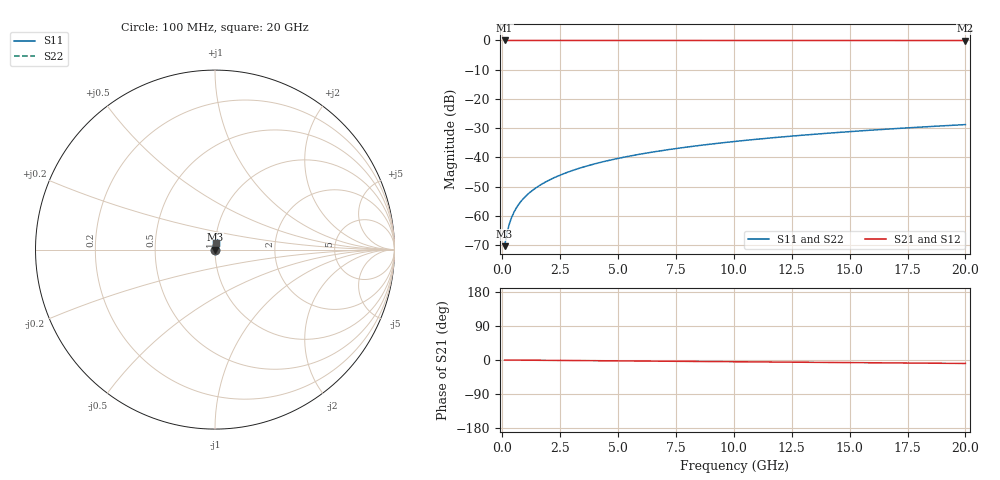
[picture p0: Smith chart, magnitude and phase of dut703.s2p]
! Touchstone file exported from HFSS 2026.1.0
!  File:  C:/ffzhzh/LocalFiles/Ansys_Project_Files/temp_train_TSV_703_1783181797_22436.aedt
!  Generated:  12:18:09 AM Jul  5, 2026
!  Design:  TSV
!  Project:  temp_train_TSV_703_1783181797_22436
! Variables:
!  h_bsmrdl = 2um
!  h_ox = 20um
!  h_rdl = 5um
!  h_sub = 89.24um
!  h_tmrdl = 5um
!  h_tsv = 89.24um
!  h_via = 3um
!  l_bsmrdl = 300um
!  l_sub = 415.96um
!  l_tmrdl = 200um
!  m_sub = 200um
!  pitch = 43.45um
!  r_tsv = 7.98um
!  s_tmrdl = 10um
!  w_bsmrdl = 18um
!  w_sub = 500um
!  w_tmrdl = 12um
!  x_tsv_center1 = 206um
!  x_tsv_center2 = 524um
!  x_tsv_center3 = 736um
!  x_tsv_center4 = 1054um
!  x_tsv_center5 = 1266um
!  x_tsv_center6 = 1584um
# GHz S MA R 50.000000
! Terminal data exported
! Port[1] = TSV1_1_T1
! Port[2] = TSV1_1_T2
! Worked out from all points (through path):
!   200 points, 100 MHz to 20 GHz, reference 50 ohm
!   highest |S21| = 0.00 dB at 100 MHz (marker M1); lowest = 0.0 dB at 20 GHz (marker M2)
!   group delay of S21, straight-line fit = 1.26 ps
!   lowest |S11| = -70.4 dB at 100 MHz (marker M3), VSWR 1.00, Z = 50 + j0.023 ohm
!   |S11| at or under -10 dB: start of sweep to end of sweep
!   |S22| runs from -70.4 to -28.8 dB; largest |S21 - S12| = 1.2e-15
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0.1  0.0003022 49.4  0.9998 -0.0  0.9998 -0.0  0.0003022 49.4
! Gamma 0 0 0 0
! Port Impedance 50 0 50 0
0.2  0.0005019 65.5  0.9998 -0.1  0.9998 -0.1  0.0005019 65.5
0.3  0.0007163 71.5  0.9998 -0.1  0.9998 -0.1  0.0007163 71.5
0.4  0.0009313 74.4  0.9998 -0.2  0.9998 -0.2  0.0009313 74.4
0.5  0.001143 76.1  0.9997 -0.2  0.9997 -0.2  0.001143 76.1
0.6  0.00135 77.1  0.9997 -0.3  0.9997 -0.3  0.00135 77.1
0.7  0.001554 77.8  0.9997 -0.3  0.9997 -0.3  0.001554 77.8
0.8  0.001753 78.3  0.9997 -0.4  0.9997 -0.4  0.001753 78.3
1  0.002144 79.1  0.9996 -0.5  0.9996 -0.5  0.002144 79.1
1.4  0.002905 80.3  0.9995 -0.7  0.9995 -0.7  0.002905 80.3
1.7  0.003469 80.9  0.9995 -0.8  0.9995 -0.8  0.003469 80.9
2  0.004032 81.4  0.9995 -0.9  0.9995 -0.9  0.004032 81.4
2.7  0.00534 82.2  0.9994 -1.3  0.9994 -1.3  0.00534 82.2
3.5  0.006828 82.6  0.9993 -1.6  0.9993 -1.6  0.006828 82.6
4.2  0.008123 82.8  0.9992 -1.9  0.9992 -1.9  0.008123 82.8
5  0.009594 82.8  0.9991 -2.3  0.9991 -2.3  0.009594 82.8
6.8  0.01287 82.6  0.999 -3.1  0.999 -3.1  0.01287 82.6
8.3  0.01558 82.3  0.9988 -3.8  0.9988 -3.8  0.01558 82.3
10.1  0.01882 81.8  0.9987 -4.6  0.9987 -4.6  0.01882 81.8
13.4  0.02471 80.8  0.9984 -6.1  0.9984 -6.1  0.02471 80.8
16.7  0.03055 79.6  0.998 -7.6  0.998 -7.6  0.03055 79.6
20  0.03633 78.3  0.9977 -9.1  0.9977 -9.1  0.03633 78.3
